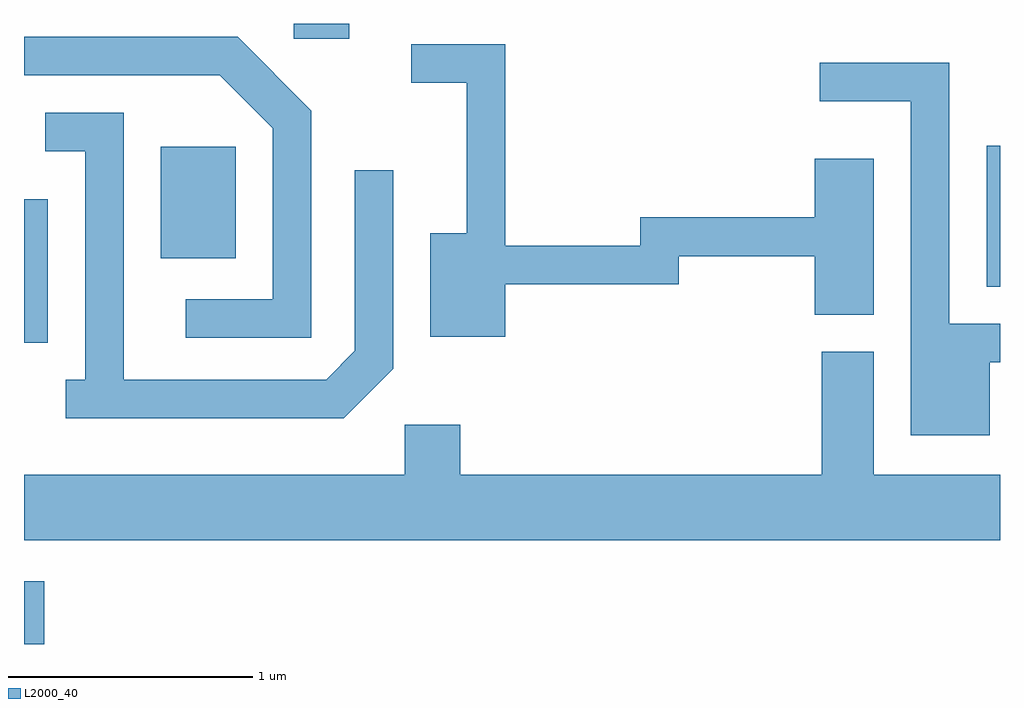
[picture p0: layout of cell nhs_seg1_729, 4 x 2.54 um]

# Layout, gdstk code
import gdstk
lib = gdstk.Library(unit=1e-6, precision=1e-09)
def R(c, l, rs):  # rectangles x0, y0, x1, y1
    for r in rs: c.add(gdstk.rectangle(r[:2], r[2:], *l))
def P(c, l, *ps):  # polygons
    for p in ps: c.add(gdstk.Polygon(p, *l))
L2000_40 = (2000, 40)

nhs_seg1_729 = lib.new_cell('nhs_seg1_729')
R(nhs_seg1_729, L2000_40, [(207.611,879.171,207.694,879.429), (207.611,880.406,207.709,880.993), (211.556,880.636,211.611,881.214), (208.171,880.751,208.479,881.209), (208.716,881.651,208.944,881.712)])
P(nhs_seg1_729, L2000_40, [(208.789,881.357),(208.487,881.659),(207.611,881.659),(207.611,881.501),(208.414,881.501),(208.631,881.284),(208.631,880.584),(208.273,880.584),(208.273,880.426),(208.789,880.426)],
  [(209.584,880.646),(210.294,880.646),(210.294,880.761),(210.851,880.761),(210.851,880.521),(211.094,880.521),(211.094,881.159),(210.851,881.159),(210.851,880.919),(210.136,880.919),(210.136,880.804),(209.584,880.804),(209.584,881.629),(209.198,881.629),(209.198,881.471),(209.426,881.471),(209.426,880.854),(209.276,880.854),(209.276,880.431),(209.584,880.431)],
  [(211.569,880.326),(211.611,880.326),(211.611,880.484),(211.404,880.484),(211.404,881.554),(210.873,881.554),(210.873,881.396),(211.246,881.396),(211.246,880.026),(211.569,880.026)],
  [(209.124,880.299),(209.124,881.113),(208.966,881.113),(208.966,880.372),(208.849,880.254),(208.019,880.254),(208.019,881.349),(207.698,881.349),(207.698,881.191),(207.861,881.191),(207.861,880.254),(207.783,880.254),(207.783,880.096),(208.922,880.096)],
  [(211.611,879.864),(211.094,879.864),(211.094,880.369),(210.881,880.369),(210.881,879.864),(209.399,879.864),(209.399,880.069),(209.171,880.069),(209.171,879.864),(207.611,879.864),(207.611,879.596),(211.611,879.596)])

lib.write_gds('nhs_seg1_729.gds')
